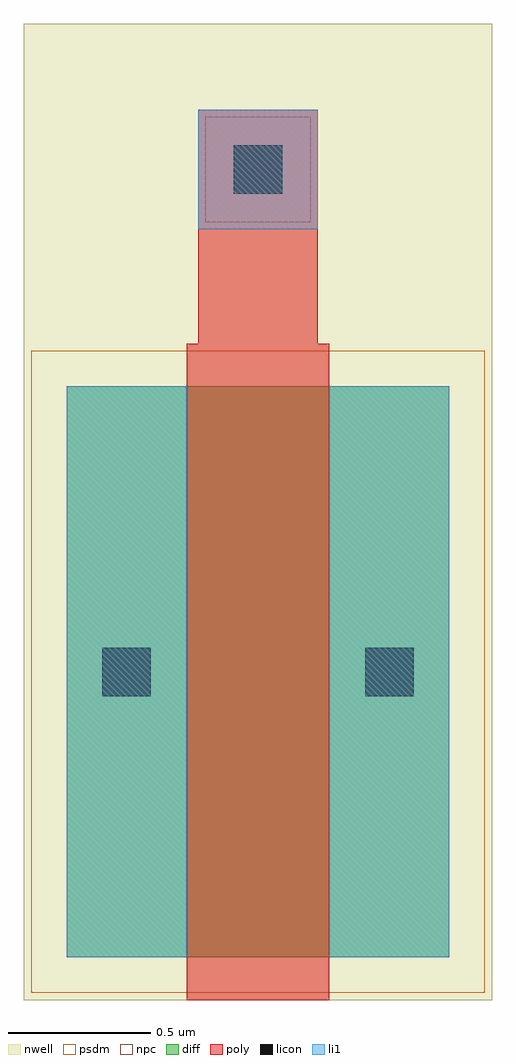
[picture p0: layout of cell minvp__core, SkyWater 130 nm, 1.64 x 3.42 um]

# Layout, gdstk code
import gdstk
lib = gdstk.Library(unit=1e-6, precision=1e-09)
def R(c, l, rs):  # rectangles x0, y0, x1, y1
    for r in rs: c.add(gdstk.rectangle(r[:2], r[2:], *l))
nwell = (64, 20)
diff = (65, 20)
poly = (66, 20)
licon = (66, 44)
li1 = (67, 20)
psdm = (94, 20)
npc = (95, 20)

minvp__core = lib.new_cell('minvp__core')
R(minvp__core, nwell, [(-0.15,-0.15,1.49,3.27)])
R(minvp__core, diff, [(0,0,1.34,2)])
R(minvp__core, poly, [(0.42,-0.15,0.92,2), (0.42,2,0.92,2.15), (0.42,2,0.92,2.15), (0.46,2.15,0.88,2.97)])
R(minvp__core, licon, [(0.125,0.915,0.295,1.085), (1.045,0.915,1.215,1.085), (0.585,2.675,0.755,2.845)])
R(minvp__core, li1, [(0,0,0.42,2), (0.92,0,1.34,2), (0.46,2.55,0.88,2.97)])
R(minvp__core, psdm, [(-0.125,-0.125,1.465,2.125)])
R(minvp__core, npc, [(0.485,2.575,0.855,2.945)])

lib.write_gds('minvp__core.gds')
